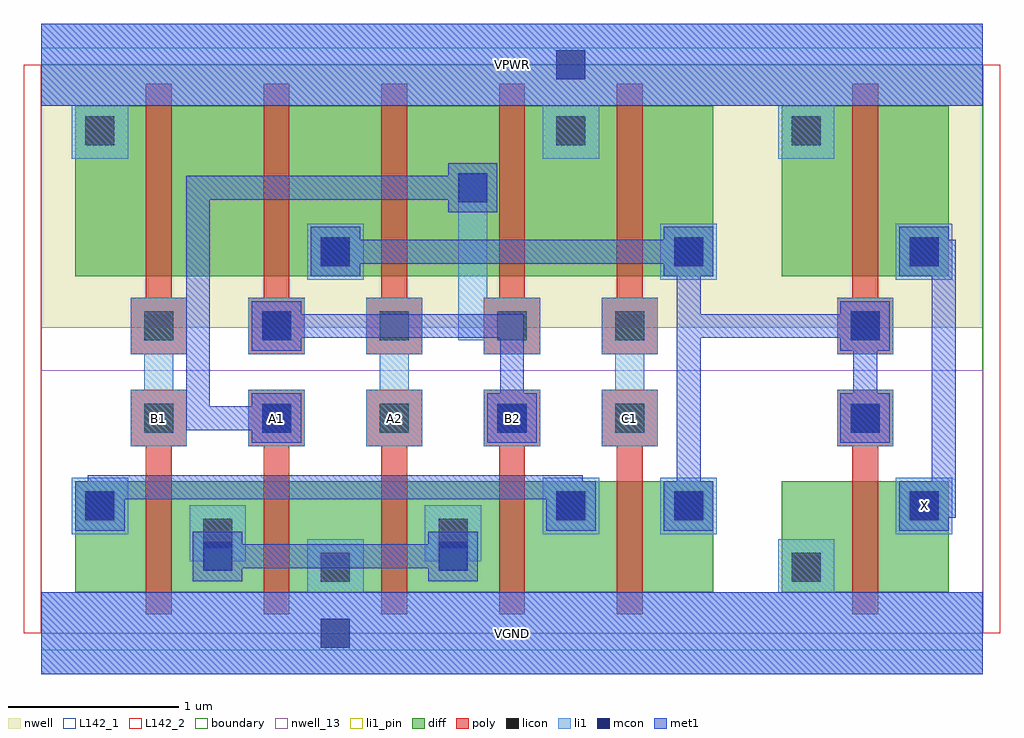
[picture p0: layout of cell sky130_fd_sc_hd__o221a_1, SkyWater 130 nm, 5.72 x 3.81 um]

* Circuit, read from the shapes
.subckt sky130_fd_sc_hd__o221a_1 A1 A2 B1 B2 C1 VGND VPWR X
XM1 n1 B1 n2 VSUBS sky130_fd_pr__nfet_01v8 w=0.65 l=0.15
XM2 VGND A1 n1 VSUBS sky130_fd_pr__nfet_01v8 w=0.65 l=0.15
XM3 n1 A2 VGND VSUBS sky130_fd_pr__nfet_01v8 w=0.65 l=0.15
XM4 n2 B2 n1 VSUBS sky130_fd_pr__nfet_01v8 w=0.65 l=0.15
XM5 n3 C1 n2 VSUBS sky130_fd_pr__nfet_01v8 w=0.65 l=0.15
XM6 X n3 VGND VSUBS sky130_fd_pr__nfet_01v8 w=0.65 l=0.15
XM7 n4 B1 VPWR n5 sky130_fd_pr__pfet_01v8 w=1 l=0.15
XM8 n3 B2 n4 n5 sky130_fd_pr__pfet_01v8 w=1 l=0.15
XM9 n6 A2 n3 n5 sky130_fd_pr__pfet_01v8 w=1 l=0.15
XM10 VPWR A1 n6 n5 sky130_fd_pr__pfet_01v8 w=1 l=0.15
XM11 n3 C1 VPWR n5 sky130_fd_pr__pfet_01v8 w=1 l=0.15
XM12 X n3 VPWR n5 sky130_fd_pr__pfet_01v8 w=1 l=0.15
.ends

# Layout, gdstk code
import gdstk
lib = gdstk.Library(unit=1e-6, precision=1e-09)
def R(c, l, rs):  # rectangles x0, y0, x1, y1
    for r in rs: c.add(gdstk.rectangle(r[:2], r[2:], *l))
def A(c, l, x, y, w, h, nx, ny, dx, dy):  # array of equal rectangles
    R(c, l, [(x+i*dx, y+j*dy, x+i*dx+w, y+j*dy+h) for i in range(nx) for j in range(ny)])
def P(c, l, *ps):  # polygons
    for p in ps: c.add(gdstk.Polygon(p, *l))
nwell_13 = (64, 13)
nwell = (64, 20)
diff = (65, 20)
poly = (66, 20)
licon = (66, 44)
li1_pin = (67, 16)
li1 = (67, 20)
mcon = (67, 44)
met1 = (68, 20)
L142_1 = (142, 1)
L142_2 = (142, 2)
boundary = (235, 4)

sky130_fd_sc_hd__o221a_1 = lib.new_cell('sky130_fd_sc_hd__o221a_1')
R(sky130_fd_sc_hd__o221a_1, nwell_13, [(0,0,5.52,1.54)])
R(sky130_fd_sc_hd__o221a_1, nwell, [(0,1.79,5.52,3.33)])
A(sky130_fd_sc_hd__o221a_1, diff, 0.615, 0.24, 0.69, 0.65, 4, 1, 0.69, 0)
A(sky130_fd_sc_hd__o221a_1, diff, 0.615, 2.09, 0.69, 1, 4, 1, 0.69, 0)
R(sky130_fd_sc_hd__o221a_1, diff, [(0.2,0.24,3.94,0.89), (0.2,0.24,0.615,0.89), (3.375,0.24,3.94,0.89), (4.34,0.24,5.32,0.89), (4.34,0.24,4.755,0.89), (4.755,0.24,5.32,0.89), (0.2,2.09,3.94,3.09), (0.2,2.09,0.615,3.09), (3.375,2.09,3.94,3.09), (4.34,2.09,5.32,3.09), (4.34,2.09,4.755,3.09), (4.755,2.09,5.32,3.09)])
P(sky130_fd_sc_hd__o221a_1, poly, [(2.685,0.11),(2.685,1.095),(2.595,1.095),(2.595,1.425),(2.925,1.425),(2.925,1.095),(2.835,1.095),(2.835,0.11)],
  [(1.215,1.635),(1.215,1.965),(1.305,1.965),(1.305,3.22),(1.455,3.22),(1.455,1.965),(1.545,1.965),(1.545,1.635)],
  [(4.755,0.11),(4.755,1.095),(4.665,1.095),(4.665,1.425),(4.995,1.425),(4.995,1.095),(4.905,1.095),(4.905,0.11)],
  [(4.665,1.635),(4.665,1.965),(4.755,1.965),(4.755,3.22),(4.905,3.22),(4.905,1.965),(4.995,1.965),(4.995,1.635)],
  [(1.995,0.11),(1.995,1.095),(1.905,1.095),(1.905,1.425),(2.235,1.425),(2.235,1.095),(2.145,1.095),(2.145,0.11)],
  [(1.905,1.635),(1.905,1.965),(1.995,1.965),(1.995,3.22),(2.145,3.22),(2.145,1.965),(2.235,1.965),(2.235,1.635)],
  [(1.305,0.11),(1.305,1.095),(1.215,1.095),(1.215,1.425),(1.545,1.425),(1.545,1.095),(1.455,1.095),(1.455,0.11)],
  [(2.595,1.635),(2.595,1.965),(2.685,1.965),(2.685,3.22),(2.835,3.22),(2.835,1.965),(2.925,1.965),(2.925,1.635)],
  [(3.375,0.11),(3.375,1.095),(3.285,1.095),(3.285,1.425),(3.615,1.425),(3.615,1.095),(3.525,1.095),(3.525,0.11)],
  [(3.285,1.635),(3.285,1.965),(3.375,1.965),(3.375,3.22),(3.525,3.22),(3.525,1.965),(3.615,1.965),(3.615,1.635)],
  [(0.615,0.11),(0.615,1.095),(0.525,1.095),(0.525,1.425),(0.855,1.425),(0.855,1.095),(0.765,1.095),(0.765,0.11)],
  [(0.525,1.635),(0.525,1.965),(0.615,1.965),(0.615,3.22),(0.765,3.22),(0.765,1.965),(0.855,1.965),(0.855,1.635)])
A(sky130_fd_sc_hd__o221a_1, licon, 0.605, 1.175, 0.17, 0.17, 5, 2, 0.69, 0.54)
R(sky130_fd_sc_hd__o221a_1, licon, [(1.64,0.3,1.81,0.47), (4.4,0.3,4.57,0.47), (0.95,0.5,1.12,0.67), (2.33,0.5,2.5,0.67), (0.26,0.66,0.43,0.83), (3.02,0.66,3.19,0.83), (3.71,0.66,3.88,0.83), (5.09,0.66,5.26,0.83), (4.745,1.175,4.915,1.345), (4.745,1.715,4.915,1.885), (1.64,2.15,1.81,2.32), (3.71,2.15,3.88,2.32), (5.09,2.15,5.26,2.32), (0.26,2.86,0.43,3.03), (3.02,2.86,3.19,3.03), (4.4,2.86,4.57,3.03)])
R(sky130_fd_sc_hd__o221a_1, li1_pin, [(0,-0.24,5.52,0.24), (5.01,0.58,5.34,0.91), (1.215,1.095,1.545,1.425), (2.595,1.095,2.925,1.425), (0,3.09,5.52,3.57)])
P(sky130_fd_sc_hd__o221a_1, li1_pin, [(3.285,1.095),(3.285,1.425),(3.365,1.425),(3.365,1.635),(3.285,1.635),(3.285,1.965),(3.615,1.965),(3.615,1.635),(3.535,1.635),(3.535,1.425),(3.615,1.425),(3.615,1.095)],
  [(1.905,1.095),(1.905,1.425),(1.985,1.425),(1.985,1.635),(1.905,1.635),(1.905,1.965),(2.235,1.965),(2.235,1.635),(2.155,1.635),(2.155,1.425),(2.235,1.425),(2.235,1.095)],
  [(0.525,1.095),(0.525,1.425),(0.605,1.425),(0.605,1.635),(0.525,1.635),(0.525,1.965),(0.855,1.965),(0.855,1.635),(0.775,1.635),(0.775,1.425),(0.855,1.425),(0.855,1.095)])
R(sky130_fd_sc_hd__o221a_1, li1, [(0.18,0.58,0.51,0.91), (2.94,0.58,3.27,0.91), (3.63,0.58,3.96,0.91), (5.01,0.58,5.34,0.91), (1.215,1.095,1.545,1.425), (2.595,1.095,2.925,1.425), (4.665,1.095,4.995,1.425), (1.215,1.635,1.545,1.965), (4.665,1.635,4.995,1.965), (1.56,2.07,1.89,2.4), (3.63,2.07,3.96,2.4), (5.01,2.07,5.34,2.4)])
P(sky130_fd_sc_hd__o221a_1, li1, [(1.905,1.095),(1.905,1.425),(1.985,1.425),(1.985,1.635),(1.905,1.635),(1.905,1.965),(2.235,1.965),(2.235,1.635),(2.155,1.635),(2.155,1.425),(2.235,1.425),(2.235,1.095)],
  [(0.18,2.78),(0.18,3.09),(0,3.09),(0,3.57),(5.52,3.57),(5.52,3.09),(4.65,3.09),(4.65,2.78),(4.32,2.78),(4.32,3.09),(3.27,3.09),(3.27,2.78),(2.94,2.78),(2.94,3.09),(0.51,3.09),(0.51,2.78)],
  [(2.595,1.635),(2.595,1.715),(2.445,1.715),(2.445,2.695),(2.615,2.695),(2.615,1.965),(2.925,1.965),(2.925,1.635)],
  [(0.95,0.365),(0.95,0.42),(0.87,0.42),(0.87,0.75),(1.2,0.75),(1.2,0.42),(1.12,0.42),(1.12,0.365)],
  [(2.33,0.365),(2.33,0.42),(2.25,0.42),(2.25,0.75),(2.58,0.75),(2.58,0.42),(2.5,0.42),(2.5,0.365)],
  [(0,-0.24),(0,0.24),(1.56,0.24),(1.56,0.55),(1.89,0.55),(1.89,0.24),(4.32,0.24),(4.32,0.55),(4.65,0.55),(4.65,0.24),(5.52,0.24),(5.52,-0.24)],
  [(3.285,1.095),(3.285,1.425),(3.365,1.425),(3.365,1.635),(3.285,1.635),(3.285,1.965),(3.615,1.965),(3.615,1.635),(3.535,1.635),(3.535,1.425),(3.615,1.425),(3.615,1.095)],
  [(0.525,1.095),(0.525,1.425),(0.605,1.425),(0.605,1.635),(0.525,1.635),(0.525,1.965),(0.855,1.965),(0.855,1.635),(0.775,1.635),(0.775,1.425),(0.855,1.425),(0.855,1.095)])
R(sky130_fd_sc_hd__o221a_1, mcon, [(1.64,-0.085,1.81,0.085), (0.95,0.365,1.12,0.535), (2.33,0.365,2.5,0.535), (0.26,0.66,0.43,0.83), (3.02,0.66,3.19,0.83), (3.71,0.66,3.88,0.83), (5.09,0.66,5.26,0.83), (1.295,1.175,1.465,1.345), (2.675,1.175,2.845,1.345), (4.745,1.175,4.915,1.345), (1.295,1.715,1.465,1.885), (4.745,1.715,4.915,1.885), (1.64,2.15,1.81,2.32), (3.71,2.15,3.88,2.32), (5.09,2.15,5.26,2.32), (2.445,2.525,2.615,2.695), (3.02,3.245,3.19,3.415)])
R(sky130_fd_sc_hd__o221a_1, met1, [(0,-0.24,5.52,0.24), (0,3.09,5.52,3.57)])
P(sky130_fd_sc_hd__o221a_1, met1, [(2.615,1.115),(2.615,1.405),(2.69,1.405),(2.69,1.73),(1.525,1.73),(1.525,1.655),(1.235,1.655),(1.235,1.945),(1.525,1.945),(1.525,1.87),(2.83,1.87),(2.83,1.405),(2.905,1.405),(2.905,1.115)],
  [(3.65,0.6),(3.65,0.89),(3.725,0.89),(3.725,2.09),(3.65,2.09),(3.65,2.165),(1.87,2.165),(1.87,2.09),(1.58,2.09),(1.58,2.38),(1.87,2.38),(1.87,2.305),(3.65,2.305),(3.65,2.38),(3.94,2.38),(3.94,2.09),(3.865,2.09),(3.865,1.87),(4.685,1.87),(4.685,1.945),(4.975,1.945),(4.975,1.655),(4.9,1.655),(4.9,1.405),(4.975,1.405),(4.975,1.115),(4.685,1.115),(4.685,1.405),(4.76,1.405),(4.76,1.655),(4.685,1.655),(4.685,1.73),(3.865,1.73),(3.865,0.89),(3.94,0.89),(3.94,0.6)],
  [(1.235,1.115),(1.235,1.19),(0.85,1.19),(0.85,2.68),(2.385,2.68),(2.385,2.755),(2.675,2.755),(2.675,2.465),(2.385,2.465),(2.385,2.54),(0.99,2.54),(0.99,1.33),(1.235,1.33),(1.235,1.405),(1.525,1.405),(1.525,1.115)],
  [(0.2,0.6),(0.2,0.89),(0.275,0.89),(0.275,0.925),(3.175,0.925),(3.175,0.89),(3.25,0.89),(3.25,0.6),(2.96,0.6),(2.96,0.785),(0.49,0.785),(0.49,0.6)],
  [(0.89,0.305),(0.89,0.595),(1.18,0.595),(1.18,0.52),(2.27,0.52),(2.27,0.595),(2.56,0.595),(2.56,0.305),(2.27,0.305),(2.27,0.38),(1.18,0.38),(1.18,0.305)],
  [(5.03,0.6),(5.03,0.89),(5.22,0.89),(5.22,2.09),(5.03,2.09),(5.03,2.38),(5.32,2.38),(5.32,2.305),(5.36,2.305),(5.36,0.675),(5.32,0.675),(5.32,0.6)])
R(sky130_fd_sc_hd__o221a_1, L142_1, [(0,-0.1,5.52,0), (0,3.33,5.52,3.43)])
R(sky130_fd_sc_hd__o221a_1, L142_2, [(-0.1,0,0,3.33), (5.52,0,5.62,3.33)])
R(sky130_fd_sc_hd__o221a_1, boundary, [(0,0,5.52,3.33)])
sky130_fd_sc_hd__o221a_1.add(gdstk.Label('X', (5.175,0.745), layer=67, texttype=5))
sky130_fd_sc_hd__o221a_1.add(gdstk.Label('C1', (3.45,1.26), layer=67, texttype=5))
sky130_fd_sc_hd__o221a_1.add(gdstk.Label('A1', (1.38,1.26), layer=67, texttype=5))
sky130_fd_sc_hd__o221a_1.add(gdstk.Label('A2', (2.07,1.26), layer=67, texttype=5))
sky130_fd_sc_hd__o221a_1.add(gdstk.Label('B2', (2.76,1.26), layer=67, texttype=5))
sky130_fd_sc_hd__o221a_1.add(gdstk.Label('B1', (0.69,1.26), layer=67, texttype=5))
sky130_fd_sc_hd__o221a_1.add(gdstk.Label('VGND', (2.76,0), layer=67, texttype=5))
sky130_fd_sc_hd__o221a_1.add(gdstk.Label('VPWR', (2.76,3.33), layer=67, texttype=5))
sky130_fd_sc_hd__o221a_1.add(gdstk.Label('VGND', (2.76,0), layer=68, texttype=5))
sky130_fd_sc_hd__o221a_1.add(gdstk.Label('VPWR', (2.76,3.33), layer=68, texttype=5))

lib.write_gds('sky130_fd_sc_hd__o221a_1.gds')
